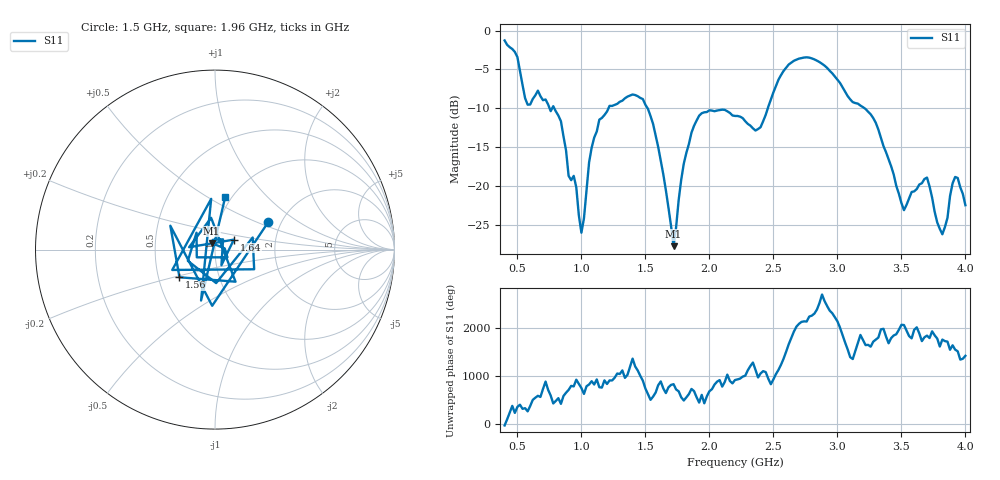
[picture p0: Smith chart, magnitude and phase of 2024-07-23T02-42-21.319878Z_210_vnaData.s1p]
!Created with skrf (http://scikit-rf.org).
# Hz S RI R 50.0
!freq ReS11 ImS11
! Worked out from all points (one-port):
!   181 points, 400 MHz to 4 GHz, reference 50 ohm
!   lowest |S11| = -27.7 dB at 1.72 GHz (marker M1), VSWR 1.09, Z = 48 + j3.49 ohm
!   |S11| at or under -10 dB: 788.2 MHz to 1.211 GHz (423.1 MHz wide, 42.3 % of centre); 1.517 GHz to 2.456 GHz (939 MHz wide, 47.3 % of centre); 3.213 GHz to end of sweep (the widest 3 of 4)
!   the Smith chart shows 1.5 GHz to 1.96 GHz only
!   S11 on the Smith chart (normalised r, x): 1.5 GHz: 1.71, +0.59; 1.56 GHz: 0.64, -0.21; 1.64 GHz: 1.23, +0.14; 1.96 GHz: 0.93, +0.60
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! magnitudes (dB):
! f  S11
! 400 MHz  -1.3
! 500 MHz  -3.4
! 580 MHz  -9.5
! 660 MHz  -7.7
! 860 MHz  -13.6
! 960 MHz  -20.2
! 1 GHz  -26.0
! 1.06 GHz  -17.0
! 1.14 GHz  -11.5
! 1.3 GHz  -9.2
! 1.5 GHz  -9.5
! 1.56 GHz  -12.0
! 1.64 GHz  -18.5
! 1.72 GHz  -27.7
! 1.76 GHz  -21.8
! 1.86 GHz  -13.1
! 1.96 GHz  -10.5
! 2.2 GHz  -11.0
! 2.4 GHz  -12.4
! 2.66 GHz  -3.9
! 3.1 GHz  -8.8
! 3.3 GHz  -11.9
! 3.52 GHz  -23.1
! 3.56 GHz  -21.6
! 3.7 GHz  -18.9
! 3.82 GHz  -26.2
! 3.92 GHz  -18.8
! 4 GHz  -22.5
